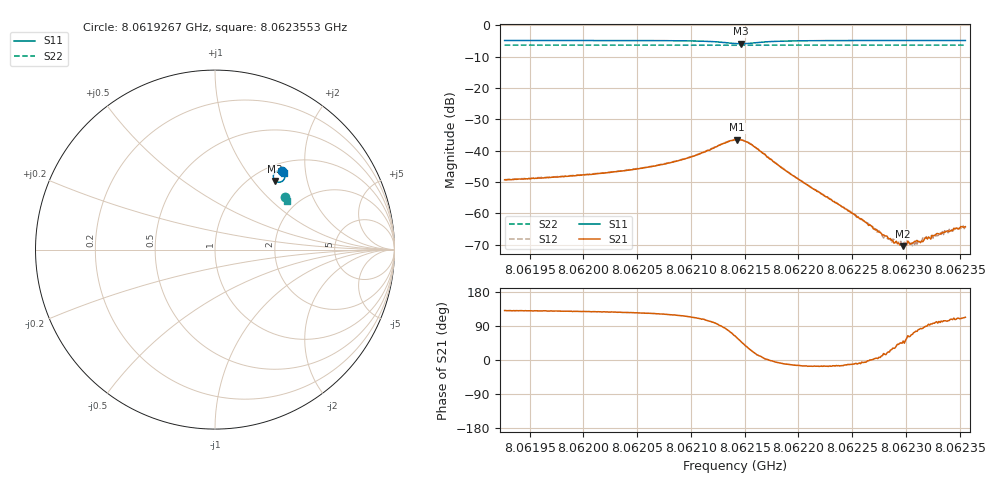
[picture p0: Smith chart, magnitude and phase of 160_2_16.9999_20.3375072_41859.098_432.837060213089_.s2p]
#  HZ  S  RI  R  50.00
! Rohde & Schwarz Vector Network Analyzer
! Rohde-Schwarz,ZNB20-2Port,1311601062101988,3.16
! Created: UTC 3/20/2024, 10:59:13 PM
! freq[Hz]  re:S11  im:S11  re:S21  im:S21  re:S12  im:S12  re:S22  im:S22
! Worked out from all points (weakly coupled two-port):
!   401 points, 8.0619267 GHz to 8.0623553 GHz, reference 50 ohm
!   highest |S21| = -36.42 dB at 8.0621431 GHz (marker M1); lowest = -70.3 dB at 8.0622974 GHz (marker M2)
!   lowest |S11| = -5.9 dB at 8.0621463 GHz (marker M3), VSWR 3.08, Z = 63 + j65.2 ohm
!   |S11| at or under -10 dB: nowhere
!   |S22| runs from -6.3 to -6.3 dB; largest |S21 - S12| = 0.0011
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8.06192671e9  0.3716 0.4398  -0.00224 0.00262  -0.00209 0.00278  0.3875 0.2925
8.06199849e9  0.3777 0.4339  -0.00252 0.00323  -0.0024 0.00336  0.3898 0.2891
8.06203706e9  0.3814 0.4293  -0.0028 0.0039  -0.00257 0.00407  0.3912 0.287
8.06207027e9  0.3853 0.4229  -0.00312 0.00502  -0.00283 0.00525  0.3923 0.2851
8.06210134e9  0.3889 0.4104  -0.00314 0.0075  -0.00274 0.00775  0.3932 0.2831
8.06212492e9  0.3826 0.3882  -0.000953 0.012  -0.000116 0.0121  0.3934 0.2812
8.06214099e9  0.3504 0.3759  0.00666 0.0134  0.00763 0.0131  0.3924 0.2805
8.06214313e9  0.3442 0.3778  0.00813 0.0127  0.00889 0.0123  0.3922 0.2804
8.06214634e9  0.3358 0.3831  0.00977 0.0113  0.0105 0.0108  0.392 0.2807
8.06215813e9  0.3253 0.4134  0.0111 0.00417  0.0114 0.00362  0.3924 0.2816
8.06218384e9  0.3494 0.4387  0.00537 -0.000794  0.00537 -0.00114  0.3947 0.281
8.06221277e9  0.3645 0.4388  0.00243 -0.000726  0.00237 -0.000859  0.3963 0.2796
8.06225027e9  0.3735 0.4356  0.000988 -0.00019  0.000971 -0.000278  0.3977 0.2776
8.06228455e9  0.3783 0.4329  0.00037 0.000141  0.000372 0.00011  0.3989 0.2757
8.06228991e9  0.3789 0.4324  0.000291 0.000182  0.000296 0.00017  0.3991 0.2755
8.06229741e9  0.3797 0.4318  0.000196 0.000233  0.00021 0.000243  0.3993 0.2752
8.06230812e9  0.3808 0.4313  0.000102 0.000344  8.09e-05 0.000306  0.3998 0.2745
8.06231348e9  0.3813 0.4308  4.08e-05 0.000341  3.72e-05 0.000352  0.3999 0.2743
8.06231777e9  0.3817 0.4306  1.29e-05 0.000407  6.9e-05 0.00039  0.4 0.2741
8.06232848e9  0.3828 0.4298  -9.13e-05 0.000469  -2.19e-05 0.000442  0.4003 0.2735
8.06233812e9  0.3836 0.4293  -0.000111 0.000514  -0.000112 0.000509  0.4006 0.273
8.06235527e9  0.385 0.4281  -0.000238 0.000568  -0.000218 0.000575  0.4014 0.2719
